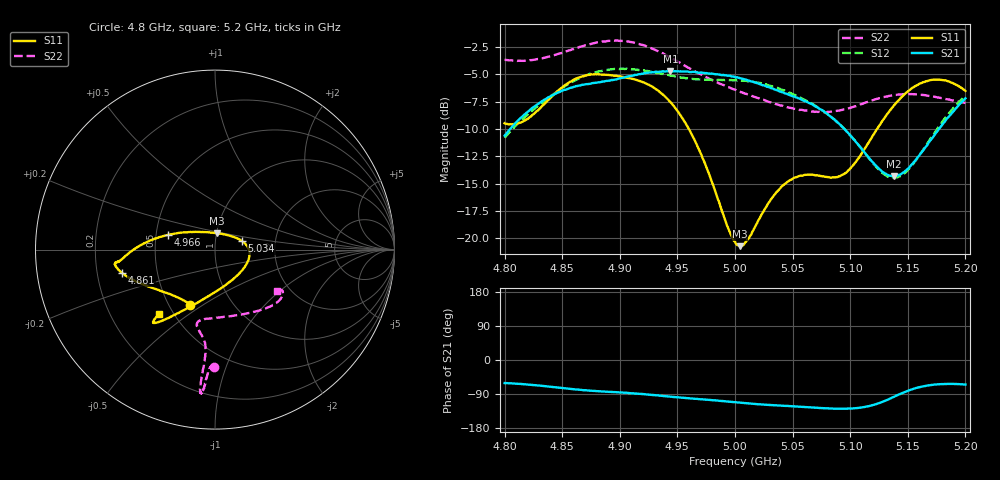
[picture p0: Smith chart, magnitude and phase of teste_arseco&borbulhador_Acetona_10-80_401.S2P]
! Network Analyzer HP8722D
! Hewlett-Packard
! Data name: Linha & Wilkinson
! Saver's name: Rodrigo Anjos
! Comments: Teste da utilização de aquisição
! continua pelo VNA HP8722D
! Time and date: 17/4/2025 17:42
!  Frequency  S11  S21  S12  S22
# HZ  S  MA R 50
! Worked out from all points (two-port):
!   401 points, 4.8 GHz to 5.2 GHz, reference 50 ohm
!   highest |S21| = -4.69 dB at 4.944 GHz (marker M1); lowest = -14.3 dB at 5.138 GHz (marker M2)
!   |S21| within 3 dB of the highest: 4.829 GHz to 5.066 GHz (236.5 MHz wide, 4.78 % of centre); 5.195288 GHz to end of sweep
!   lowest |S11| = -20.7 dB at 5.004 GHz (marker M3), VSWR 1.20, Z = 50 + j9.22 ohm
!   |S11| at or under -10 dB: 4.96 GHz to 5.123 GHz (163.4 MHz wide, 3.24 % of centre)
!   |S22| runs from -8.5 to -1.9 dB; largest |S21 - S12| = 0.88
!   S11 on the Smith chart (normalised r, x): 4.8 GHz: 0.64, -0.44; 4.861 GHz: 0.31, -0.11; 4.966 GHz: 0.58, +0.10; 5.034 GHz: 1.34, +0.13; 5.2 GHz: 0.42, -0.39
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4.8e9  0.336 -114.1  0.2947 -60.8  0.2883 -175.2  0.6559 -90.3
4.819e9  0.3503 -134.0  0.3754 -64.4  0.3639 -173.9  0.6514 -91.9
4.861e9  0.5352 -165.9  0.4945 -77.4  0.5275 -177.3  0.7385 -94.2
4.867e9  0.5504 -168.3  0.5046 -79.2  0.5455 -178.3  0.7567 -94.3
4.899e9  0.5511 -172.7  0.5377 -85.5  0.596 175.1  0.8023 -95.6
4.934e9  0.4705 -178.5  0.5778 -93.9  0.5707 171.5  0.7143 -96.0
4.944e9  0.4197 177.0  0.5826 -96.7  0.5557 171.5  0.6736 -95.8
4.966e9  0.2733 162.5  0.5752 -102.3  0.5342 173.4  0.5779 -95.2
5e9  0.09621 98.9  0.5475 -111.5  0.5302 175.8  0.4782 -99.3
5.004e9  0.09181 84.4  0.5414 -112.5  0.5284 175.8  0.4703 -100.1
5.012e9  0.09974 57.2  0.5266 -114.5  0.5225 175.6  0.4535 -102.0
5.034e9  0.1573 17.8  0.481 -119.5  0.494 174.4  0.414 -103.3
5.05e9  0.1869 1.6  0.4466 -122.2  0.4563 173.8  0.3938 -99.3
5.067e9  0.1952 -16.5  0.4105 -125.2  0.4121 173.4  0.3798 -90.1
5.086e9  0.1899 -46.8  0.3509 -128.4  0.3504 173.6  0.3816 -75.8
5.097e9  0.2004 -69.0  0.3079 -128.6  0.308 174.7  0.3918 -66.9
5.123e9  0.3148 -108.8  0.2127 -115.9  0.211 -170.4  0.4344 -48.5
5.134e9  0.3811 -117.5  0.1934 -102.8  0.1896 -155.7  0.4484 -43.0
5.138e9  0.4057 -119.8  0.1917 -97.1  0.1885 -149.2  0.4518 -41.3
5.15e9  0.4696 -125.0  0.2076 -81.4  0.2049 -131.1  0.4572 -36.9
5.17e9  0.5297 -129.6  0.2818 -66.0  0.2874 -112.3  0.4473 -32.2
5.2e9  0.4727 -131.0  0.4367 -64.8  0.4486 -106.9  0.4163 -33.6
